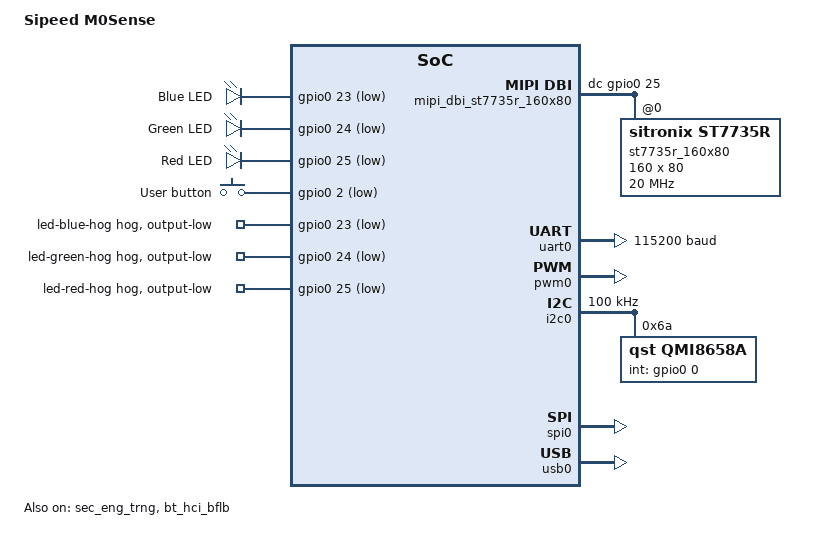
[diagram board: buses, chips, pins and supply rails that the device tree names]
/*
 * SPDX-FileCopyrightText: Copyright The Zephyr Project Contributors
 * SPDX-License-Identifier: Apache-2.0
 */

/dts-v1/;

#include <bflb/bl702.dtsi>
#include "m0sense-pinctrl.dtsi"

/ {
	model = "Sipeed M0Sense";
	compatible = "sipeed,m0sense";

	chosen {
		zephyr,flash = &flash0;
		zephyr,code-partition = &slot0_partition;
		zephyr,itcm = &itcm;
		zephyr,dtcm = &dtcm;
		zephyr,sram = &sram0_bt;
		zephyr,entropy = &sec_eng_trng;
		zephyr,bt-hci = &bt_hci_bflb;
		zephyr,display = &st7735r_160x80;
	};

	leds {
		compatible = "gpio-leds";

		led_blue: led_blue {
			gpios = <&gpio0 23 GPIO_ACTIVE_LOW>;
			label = "Blue LED";
		};

		led_green: led_green {
			gpios = <&gpio0 24 GPIO_ACTIVE_LOW>;
			label = "Green LED";
		};

		led_red: led_red {
			gpios = <&gpio0 25 GPIO_ACTIVE_LOW>;
			label = "Red LED";
		};
	};

	gpio_keys {
		compatible = "gpio-keys";

		button0: button0 {
			gpios = <&gpio0 2 GPIO_ACTIVE_LOW>;
			label = "User button";
			zephyr,code = <INPUT_KEY_0>;
		};
	};

	pwmleds: pwmleds {
		compatible = "pwm-leds";
		status = "disabled";

		pwm_led_blue: pwm_led_blue {
			pwms = <&pwm0 3 PWM_MSEC(1) PWM_POLARITY_INVERTED>;
			label = "Blue LED PWM";
		};

		pwm_led_green: pwm_led_green {
			pwms = <&pwm0 4 PWM_MSEC(1) PWM_POLARITY_INVERTED>;
			label = "Green LED PWM";
		};

		pwm_led_red: pwm_led_red {
			pwms = <&pwm0 0 PWM_MSEC(1) PWM_POLARITY_INVERTED>;
			label = "Red LED PWM";
		};
	};

	mipi_dbi_st7735r_160x80 {
		compatible = "zephyr,mipi-dbi-spi";
		spi-dev = <&spi0>;
		dc-gpios = <&gpio0 25 GPIO_ACTIVE_HIGH>;
		#address-cells = <1>;
		#size-cells = <0>;

		st7735r_160x80: st7735r@0 {
			compatible = "sitronix,st7735r";
			mipi-max-frequency = <20000000>;
			mipi-mode = "MIPI_DBI_MODE_SPI_4WIRE";
			reg = <0>;
			width = <160>;
			height = <80>;
			inversion-on;
			rgb-is-inverted;
			x-offset = <1>;
			y-offset = <26>;
			pwctr1 = [a2 02 84];
			pwctr2 = [c5];
			pwctr3 = [0a 00];
			pwctr4 = [8a 2a];
			pwctr5 = [8a ee];
			invctr = <7>;
			frmctr1 = [01 2c 2d];
			frmctr2 = [01 2c 2d];
			frmctr3 = [01 2c 2d 01 2c 2d];
			vmctr1 = <14>;
			gamctrp1 = [02 1c 07 12 37 32 29 2d 29 25 2b 39 00 01 03 10];
			gamctrn1 = [03 1d 07 06 2e 2c 29 2d 2e 2e 37 3f 00 00 02 10];
			colmod = <5>;
			madctl = <112>;
			caset = [00 01 00 a0];
			raset = [00 1a 00 69];
		};
	};

	aliases {
		led0 = &led_blue;
		pwm-led0 = &pwm_led_blue;
		pwm-led1 = &pwm_led_green;
		pwm-led2 = &pwm_led_red;
		red-pwm-led = &pwm_led_red;
		green-pwm-led = &pwm_led_green;
		blue-pwm-led = &pwm_led_blue;
		sw0 = &button0;
		watchdog0 = &wdt0;
		accel0 = &qmi8658a;
	};
};

&cpu0 {
	clock-frequency = <DT_FREQ_M(144)>;
};

&flashctrl {
	flash0: flash@23000000 {
		compatible = "soc-nv-flash";
		/* Capacity -Header -UF2 bootloader */
		reg = <0x23000000 (DT_SIZE_K(512) - 0x2000 - 0x10000)>;
		ranges = <0x0 0x23000000 (DT_SIZE_K(512) - 0x2000 - 0x10000)>;
		#address-cells = <1>;
		#size-cells = <1>;
		write-block-size = <256>;
		erase-block-size = <DT_SIZE_K(4)>;

		partitions {
			ranges;
			#address-cells = <1>;
			#size-cells = <1>;

			slot0_partition: partition@0 {
				compatible = "zephyr,mapped-partition";
				label = "image-0";
				reg = <0x00000000 0x60000>;
				read-only;
			};

			storage_partition: partition@60000 {
				compatible = "zephyr,mapped-partition";
				label = "storage";
				reg = <0x00060000 0xe000>;
			};
		};
	};
};

&gpio0 {
	status = "okay";

	/* Drive ACTIVE_LOW LED pins LOW at boot so LEDs default to off.
	 * BL70x pins 23-28 are output-only (PSRAM IO pads), no high-Z.
	 */
	led-blue-hog {
		gpio-hog;
		gpios = <23 GPIO_ACTIVE_LOW>;
		output-low;
	};

	led-green-hog {
		gpio-hog;
		gpios = <24 GPIO_ACTIVE_LOW>;
		output-low;
	};

	led-red-hog {
		gpio-hog;
		gpios = <25 GPIO_ACTIVE_LOW>;
		output-low;
	};
};

&uart0 {
	status = "okay";
	current-speed = <115200>;

	pinctrl-0 = <&uart0_default>;
	pinctrl-names = "default";
};

&pwm0 {
	status = "okay";

	pinctrl-0 = <&pwm0_default>;
	pinctrl-names = "default";
};

&sec_eng_trng {
	status = "okay";
};

&bt_hci_bflb {
	status = "okay";
};

&i2c0 {
	status = "okay";

	pinctrl-0 = <&i2c0_default>;
	pinctrl-names = "default";

	clock-frequency = <I2C_BITRATE_STANDARD>;

	qmi8658a: qmi8658a@6a {
		compatible = "qst,qmi8658a";
		reg = <0x6a>;
		accel-fs = <4>;      /* 4 g */
		gyro-fs = <512>;     /* 512 dps */
		accel-odr = <896>;   /* ~896 Hz */
		gyro-odr = <896>;
		int-gpios = <&gpio0 0 GPIO_ACTIVE_HIGH>;
		int-pin = <1>;
	};
};

&spi0 {
	status = "okay";

	cs-gpios = <&gpio0 1 GPIO_ACTIVE_LOW>;

	pinctrl-0 = <&spi0_default>;
	pinctrl-names = "default";
};

zephyr_udc0: &usb0 {
	status = "okay";

	pinctrl-0 = <&usb_default>;
	pinctrl-names = "default";
};

#include <../boards/common/usb/cdc_acm_serial.dtsi>
